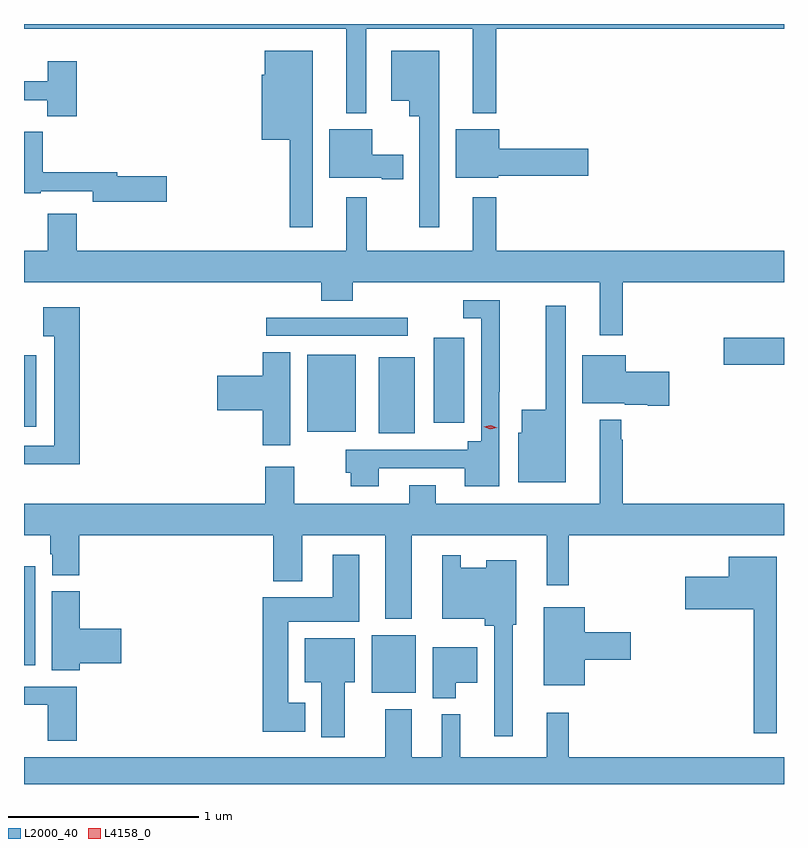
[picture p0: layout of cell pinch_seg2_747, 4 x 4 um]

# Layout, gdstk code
import gdstk
lib = gdstk.Library(unit=1e-6, precision=1e-09)
def R(c, l, rs):  # rectangles x0, y0, x1, y1
    for r in rs: c.add(gdstk.rectangle(r[:2], r[2:], *l))
def P(c, l, *ps):  # polygons
    for p in ps: c.add(gdstk.Polygon(p, *l))
L2000_40 = (2000, 40)
L4158_0 = (4158, 0)

pinch_seg2_747 = lib.new_cell('pinch_seg2_747')
R(pinch_seg2_747, L2000_40, [(672.749,644.141,672.982,644.446), (670.92,644.288,670.978,644.809), (672.788,645.509,672.976,645.907), (672.41,645.515,672.667,645.922), (670.92,645.543,670.984,645.918), (673.076,645.564,673.237,646.012), (674.604,645.869,674.92,646.011), (672.195,646.02,672.94,646.116)])
P(pinch_seg2_747, L2000_40, [(672.721,647.636),(673.283,647.636),(673.283,647.192),(673.405,647.192),(673.405,647.636),(674.92,647.636),(674.92,647.662),(670.92,647.662),(670.92,647.636),(672.617,647.636),(672.617,647.192),(672.721,647.192)],
  [(673.105,647.521),(672.854,647.521),(672.854,647.258),(672.947,647.258),(672.947,647.177),(673.001,647.177),(673.001,646.593),(673.105,646.593)],
  [(672.439,647.521),(672.188,647.521),(672.188,647.394),(672.17,647.394),(672.17,647.054),(672.318,647.054),(672.318,646.593),(672.439,646.593)],
  [(671.198,647.467),(671.045,647.467),(671.045,647.361),(670.92,647.361),(670.92,647.262),(671.043,647.262),(671.043,647.177),(671.198,647.177)],
  [(672.916,646.975),(672.754,646.975),(672.754,647.107),(672.527,647.107),(672.527,646.853),(672.803,646.853),(672.803,646.846),(672.916,646.846)],
  [(673.416,646.864),(673.891,646.864),(673.891,647.006),(673.42,647.006),(673.42,647.107),(673.193,647.107),(673.193,646.853),(673.416,646.853)],
  [(671.671,646.862),(671.41,646.862),(671.41,646.883),(671.018,646.883),(671.018,647.095),(670.92,647.095),(670.92,646.77),(671.008,646.77),(671.008,646.782),(671.282,646.782),(671.282,646.727),(671.671,646.727)],
  [(674.071,646.304),(674.92,646.304),(674.92,646.468),(673.405,646.468),(673.405,646.75),(673.283,646.75),(673.283,646.468),(672.724,646.468),(672.724,646.75),(672.617,646.75),(672.617,646.468),(671.198,646.468),(671.198,646.663),(671.045,646.663),(671.045,646.468),(670.92,646.468),(670.92,646.304),(672.485,646.304),(672.485,646.205),(672.65,646.205),(672.65,646.304),(673.949,646.304),(673.949,646.023),(674.071,646.023)],
  [(672.787,645.324),(673.241,645.324),(673.241,645.23),(673.422,645.23),(673.422,645.727),(673.425,645.727),(673.425,646.209),(673.233,646.209),(673.233,646.113),(673.326,646.113),(673.326,645.466),(673.256,645.466),(673.256,645.42),(672.614,645.42),(672.614,645.299),(672.64,645.299),(672.64,645.23),(672.787,645.23)],
  [(673.771,646.18),(673.667,646.18),(673.667,645.631),(673.541,645.631),(673.541,645.51),(673.52,645.51),(673.52,645.251),(673.771,645.251)],
  [(671.213,646.171),(671.022,646.171),(671.022,646.019),(671.078,646.019),(671.078,645.441),(670.92,645.441),(670.92,645.345),(670.982,645.345),(670.982,645.344),(671.213,645.344)],
  [(672.322,645.935),(672.176,645.935),(672.176,645.812),(671.937,645.812),(671.937,645.629),(672.176,645.629),(672.176,645.444),(672.322,645.444)],
  [(674.317,645.831),(674.086,645.831),(674.086,645.919),(673.859,645.919),(673.859,645.665),(674.082,645.665),(674.082,645.659),(674.204,645.659),(674.204,645.653),(674.317,645.653)],
  [(672.961,644.972),(673.67,644.972),(673.67,644.709),(673.787,644.709),(673.787,644.972),(674.92,644.972),(674.92,645.136),(674.071,645.136),(674.071,645.473),(674.063,645.473),(674.063,645.58),(673.949,645.58),(673.949,645.136),(673.087,645.136),(673.087,645.235),(672.947,645.235),(672.947,645.136),(672.343,645.136),(672.343,645.331),(672.191,645.331),(672.191,645.136),(670.92,645.136),(670.92,644.972),(671.057,644.972),(671.057,644.871),(671.069,644.871),(671.069,644.761),(671.21,644.761),(671.21,644.972),(672.233,644.972),(672.233,644.729),(672.385,644.729),(672.385,644.972),(672.821,644.972),(672.821,644.531),(672.961,644.531)],
  [(672.4,644.089),(672.31,644.089),(672.31,644.516),(672.685,644.516),(672.685,644.869),(672.545,644.869),(672.545,644.644),(672.176,644.644),(672.176,643.937),(672.4,643.937)],
  [(673.492,644.499),(673.51,644.499),(673.51,644.839),(673.352,644.839),(673.352,644.8),(673.219,644.8),(673.219,644.866),(673.122,644.866),(673.122,644.531),(673.345,644.531),(673.345,644.495),(673.395,644.495),(673.395,643.914),(673.492,643.914)],
  [(674.881,644.857),(674.63,644.857),(674.63,644.752),(674.4,644.752),(674.4,644.582),(674.76,644.582),(674.76,643.929),(674.881,643.929)],
  [(671.213,644.297),(671.431,644.297),(671.431,644.48),(671.213,644.48),(671.213,644.676),(671.066,644.676),(671.066,644.26),(671.213,644.26)],
  [(673.87,644.315),(674.113,644.315),(674.113,644.462),(673.87,644.462),(673.87,644.593),(673.655,644.593),(673.655,644.183),(673.87,644.183)],
  [(672.607,644.198),(672.661,644.198),(672.661,644.428),(672.398,644.428),(672.398,644.198),(672.485,644.198),(672.485,643.908),(672.607,643.908)],
  [(673.192,644.195),(673.306,644.195),(673.306,644.383),(673.07,644.383),(673.07,644.114),(673.192,644.114)],
  [(671.198,644.175),(670.92,644.175),(670.92,644.079),(671.045,644.079),(671.045,643.89),(671.198,643.89)],
  [(674.92,643.804),(673.787,643.804),(673.787,644.038),(673.67,644.038),(673.67,643.804),(673.217,643.804),(673.217,644.029),(673.118,644.029),(673.118,643.804),(672.961,643.804),(672.961,644.056),(672.821,644.056),(672.821,643.804),(670.92,643.804),(670.92,643.662),(674.92,643.662)])
P(pinch_seg2_747, L4158_0, [(673.375,645.53),(673.34,645.541),(673.339,645.541),(673.34,645.541),(673.376,645.55),(673.412,645.538),(673.412,645.538),(673.412,645.538)])

lib.write_gds('pinch_seg2_747.gds')
